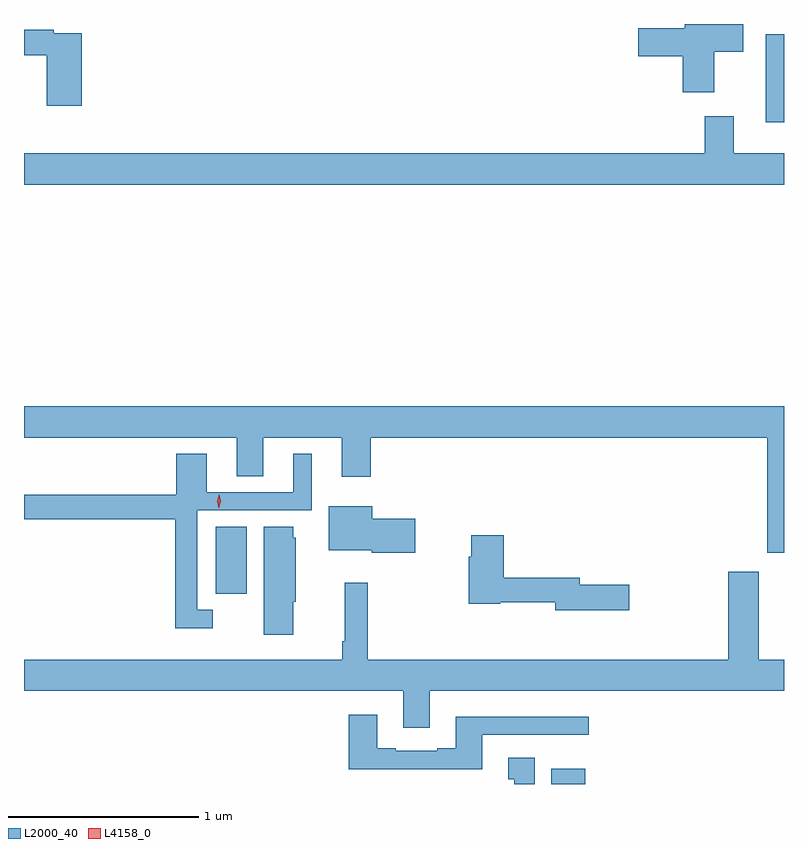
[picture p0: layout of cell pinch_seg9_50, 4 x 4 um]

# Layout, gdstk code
import gdstk
lib = gdstk.Library(unit=1e-6, precision=1e-09)
def R(c, l, rs):  # rectangles x0, y0, x1, y1
    for r in rs: c.add(gdstk.rectangle(r[:2], r[2:], *l))
def P(c, l, *ps):  # polygons
    for p in ps: c.add(gdstk.Polygon(p, *l))
L2000_40 = (2000, 40)
L4158_0 = (4158, 0)

pinch_seg9_50 = lib.new_cell('pinch_seg9_50')
R(pinch_seg9_50, L2000_40, [(974.513,1171.953,974.692,1172.032), (972.746,1172.955,972.91,1173.308), (975.641,1175.436,975.737,1175.899)])
P(pinch_seg9_50, L2000_40, [(975.37,1175.806),(975.523,1175.806),(975.523,1175.953),(975.215,1175.953),(975.215,1175.93),(974.97,1175.93),(974.97,1175.783),(975.203,1175.783),(975.203,1175.595),(975.37,1175.595)],
  [(972.041,1175.904),(971.894,1175.904),(971.894,1175.924),(971.737,1175.924),(971.737,1175.788),(971.858,1175.788),(971.858,1175.523),(972.041,1175.523)],
  [(975.737,1175.272),(975.472,1175.272),(975.472,1175.467),(975.32,1175.467),(975.32,1175.272),(971.737,1175.272),(971.737,1175.108),(975.737,1175.108)],
  [(975.737,1173.94),(971.737,1173.94),(971.737,1173.776),(972.857,1173.776),(972.857,1173.574),(972.997,1173.574),(972.997,1173.776),(973.409,1173.776),(973.409,1173.57),(973.562,1173.57),(973.562,1173.776),(975.65,1173.776),(975.65,1173.17),(975.737,1173.17)],
  [(972.73,1172.871),(972.648,1172.871),(972.648,1173.393),(973.252,1173.393),(973.252,1173.691),(973.154,1173.691),(973.154,1173.489),(972.7,1173.489),(972.7,1173.691),(972.539,1173.691),(972.539,1173.475),(971.737,1173.475),(971.737,1173.346),(972.532,1173.346),(972.532,1172.774),(972.73,1172.774)],
  [(973.795,1173.348),(973.57,1173.348),(973.57,1173.415),(973.34,1173.415),(973.34,1173.182),(973.566,1173.182),(973.566,1173.17),(973.795,1173.17)],
  [(973.153,1172.913),(973.168,1172.913),(973.168,1173.249),(973.153,1173.249),(973.153,1173.308),(972.998,1173.308),(972.998,1172.739),(973.153,1172.739)],
  [(974.923,1173.002),(974.662,1173.002),(974.662,1173.038),(974.261,1173.038),(974.261,1173.262),(974.09,1173.262),(974.09,1173.149),(974.078,1173.149),(974.078,1172.902),(974.244,1172.902),(974.244,1172.91),(974.534,1172.91),(974.534,1172.867),(974.923,1172.867)],
  [(973.873,1172.444),(975.737,1172.444),(975.737,1172.608),(975.603,1172.608),(975.603,1173.07),(975.443,1173.07),(975.443,1172.608),(973.547,1172.608),(973.547,1173.013),(973.426,1173.013),(973.426,1172.704),(973.411,1172.704),(973.411,1172.608),(971.737,1172.608),(971.737,1172.444),(973.733,1172.444),(973.733,1172.25),(973.873,1172.25)],
  [(974.149,1172.211),(974.71,1172.211),(974.71,1172.308),(974.009,1172.308),(974.009,1172.14),(973.913,1172.14),(973.913,1172.127),(973.693,1172.127),(973.693,1172.14),(973.597,1172.14),(973.597,1172.317),(973.445,1172.317),(973.445,1172.03),(974.149,1172.03)],
  [(974.425,1172.092),(974.285,1172.092),(974.285,1171.979),(974.318,1171.979),(974.318,1171.953),(974.425,1171.953)])
P(pinch_seg9_50, L4158_0, [(972.762,1173.405),(972.762,1173.405),(972.753,1173.442),(972.765,1173.477),(972.765,1173.478),(972.765,1173.477),(972.773,1173.441),(972.762,1173.405)])

lib.write_gds('pinch_seg9_50.gds')
